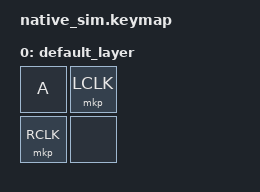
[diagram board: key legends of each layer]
#include <behaviors.dtsi>
#include <dt-bindings/zmk/keys.h>
#include <dt-bindings/zmk/kscan_mock.h>
#include <dt-bindings/zmk/pointing.h>

/ {
    keymap {
        compatible = "zmk,keymap";

        default_layer {
            bindings = <
                &kp A     &mkp LCLK
                &mkp RCLK &none
            >;
        };
    };
};

&mkp_input_listener {
    input-processors = <&esb_relay_pointer>;
};

&kscan {
    /delete-property/ exit-after;
    /* Mock reuses each delay as the gap after its event.
     * The &none tap sets where the burst starts. */
    events = <
        ZMK_MOCK_PRESS(1,1,75)
        ZMK_MOCK_RELEASE(1,1,85)
        ZMK_MOCK_PRESS(0,1,1)
        ZMK_MOCK_PRESS(0,0,1)
        ZMK_MOCK_PRESS(1,0,1)
        ZMK_MOCK_RELEASE(0,0,1)
        ZMK_MOCK_RELEASE(0,1,1)
        ZMK_MOCK_RELEASE(1,0,10)
    >;
};
